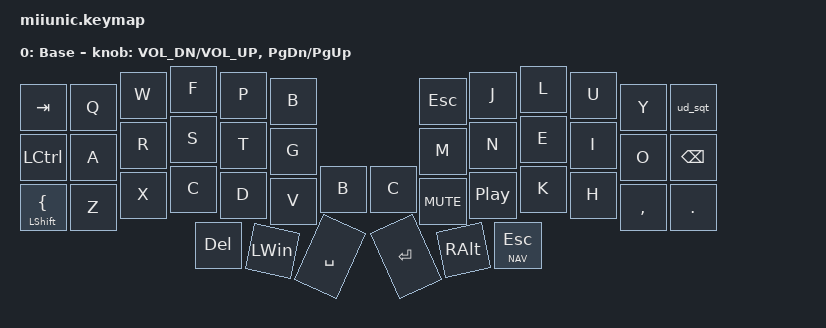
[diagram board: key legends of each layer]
#include <behaviors.dtsi>
#include <dt-bindings/zmk/keys.h>

/ {
    keymap {
        compatible = "zmk,keymap";

        default_layer {
            display-name = "Base";
            bindings = <
&kp TAB         &kp Q  &kp W  &kp F    &kp P         &kp B                    &kp J       &kp L        &kp U     &kp Y  &ud_sqt    &kp ESC
&kp LCTRL       &kp A  &kp R  &kp S    &kp T         &kp G                    &kp M       &kp N        &kp E     &kp I  &kp O      &kp BSPC
&mt LSHFT LBRC  &kp Z  &kp X  &kp C    &kp D         &kp V                    &kp C_MUTE  &kp C_PP     &kp K     &kp H  &kp COMMA  &kp DOT
                              &kp DEL  &kp LEFT_WIN  &kp SPACE  &kp B  &kp C  &kp ENTER   &lt NAV ESC  &kp RALT
            >;

            sensor-bindings = <&inc_dec_kp C_VOL_DN C_VOL_UP &inc_dec_kp PG_DN PG_UP>;
        };
    };
};
